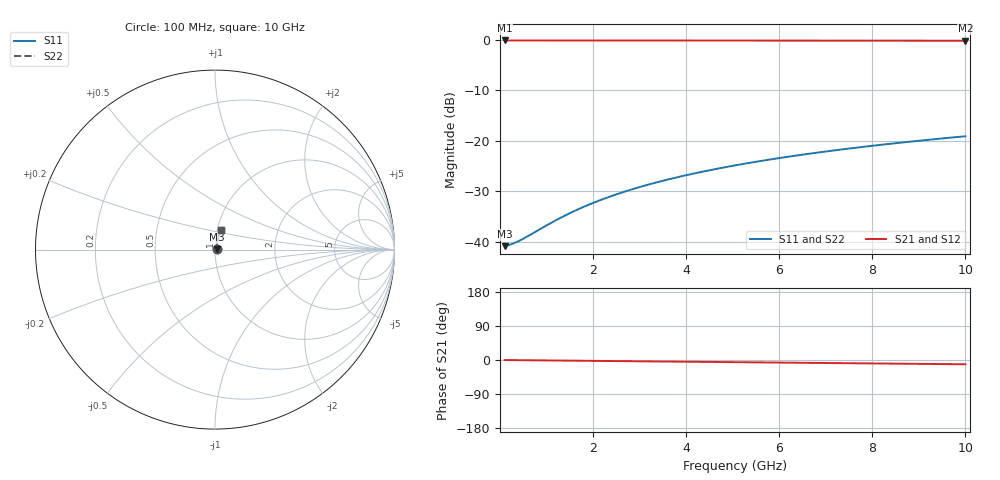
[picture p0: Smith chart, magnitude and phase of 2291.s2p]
# Hz S RI R 50.00
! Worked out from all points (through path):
!   100 points, 100 MHz to 10 GHz, reference 50 ohm
!   highest |S21| = -0.08 dB at 100 MHz (marker M1); lowest = -0.1 dB at 10 GHz (marker M2)
!   group delay of S21, straight-line fit = 3.14 ps
!   lowest |S11| = -40.9 dB at 100 MHz (marker M3), VSWR 1.02, Z = 50.9 + j0.112 ohm
!   |S11| at or under -10 dB: start of sweep to end of sweep
!   |S22| runs from -40.9 to -19.1 dB; largest |S21 - S12| = 0
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1e8  0.00898 0.0011  0.991 -0.00196  0.991 -0.00196  0.00898 0.0011
2e8  0.00904 0.0022  0.991 -0.00392  0.991 -0.00392  0.00904 0.0022
3e8  0.0091 0.0033  0.9909 -0.00588  0.9909 -0.00588  0.0091 0.0033
4e8  0.00915 0.00441  0.9908 -0.00784  0.9908 -0.00784  0.00915 0.00441
6e8  0.00925 0.00661  0.9907 -0.0118  0.9907 -0.0118  0.00925 0.00661
1e9  0.00947 0.011  0.9905 -0.0196  0.9905 -0.0196  0.00947 0.011
1.3e9  0.00967 0.0143  0.9903 -0.0255  0.9903 -0.0255  0.00967 0.0143
1.5e9  0.00982 0.0165  0.9901 -0.0294  0.9901 -0.0294  0.00982 0.0165
1.8e9  0.0101 0.0198  0.9898 -0.0353  0.9898 -0.0353  0.0101 0.0198
2.1e9  0.0104 0.0231  0.9895 -0.0411  0.9895 -0.0411  0.0104 0.0231
2.5e9  0.0108 0.0275  0.9889 -0.049  0.9889 -0.049  0.0108 0.0275
2.9e9  0.0113 0.0318  0.9884 -0.0568  0.9884 -0.0568  0.0113 0.0318
3.4e9  0.012 0.0373  0.9875 -0.0665  0.9875 -0.0665  0.012 0.0373
3.8e9  0.0127 0.0416  0.9867 -0.0743  0.9867 -0.0743  0.0127 0.0416
4.2e9  0.0134 0.046  0.9859 -0.0821  0.9859 -0.0821  0.0134 0.046
4.6e9  0.0142 0.0503  0.985 -0.0898  0.985 -0.0898  0.0142 0.0503
5.1e9  0.0153 0.0557  0.9837 -0.0995  0.9837 -0.0995  0.0153 0.0557
5.9e9  0.0172 0.0642  0.9814 -0.115  0.9814 -0.115  0.0172 0.0642
6.7e9  0.0195 0.0727  0.9788 -0.1304  0.9788 -0.1304  0.0195 0.0727
7.5e9  0.0219 0.0811  0.9759 -0.1456  0.9759 -0.1456  0.0219 0.0811
8.4e9  0.025 0.0904  0.9723 -0.1627  0.9723 -0.1627  0.025 0.0904
1e10  0.0313 0.1067  0.9648 -0.1928  0.9648 -0.1928  0.0313 0.1067
